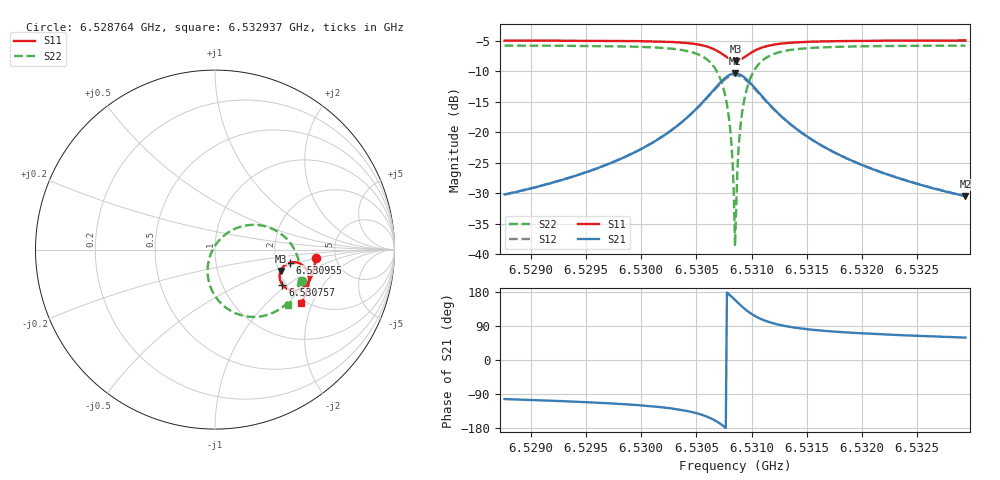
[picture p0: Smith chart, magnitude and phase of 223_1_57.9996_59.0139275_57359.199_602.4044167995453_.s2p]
#  HZ  S  RI  R  50.00
! Rohde & Schwarz Vector Network Analyzer
! Rohde-Schwarz,ZNB20-2Port,1311601062101988,3.16
! Created: UTC 3/21/2024, 1:00:14 AM
! freq[Hz]  re:S11  im:S11  re:S21  im:S21  re:S12  im:S12  re:S22  im:S22
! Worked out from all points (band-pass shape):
!   401 points, 6.528764 GHz to 6.532937 GHz, reference 50 ohm
!   highest |S21| = -10.37 dB at 6.530851 GHz (marker M1); lowest = -30.5 dB at 6.532937 GHz (marker M2)
!   |S21| within 3 dB of the highest: 6.530643 GHz to 6.53106 GHz (417.2 kHz wide, 0.00639 % of centre)
!   lowest |S11| = -8.3 dB at 6.530861 GHz (marker M3), VSWR 2.25, Z = 102 - j28.5 ohm
!   |S11| at or under -10 dB: nowhere
!   |S22| runs from -38.7 to -5.8 dB; largest |S21 - S12| = 0.012
!   S11 on the Smith chart (normalised r, x): 6.528764 GHz: 3.49, -0.49; 6.530757 GHz: 1.92, -0.91; 6.530955 GHz: 2.38, -0.42; 6.532937 GHz: 1.90, -1.66
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6.5287637e9  0.5603 -0.0483  -0.00699 -0.03  -0.00762 -0.0299  0.4824 -0.1725
6.5294628e9  0.5511 -0.1066  -0.0162 -0.0427  -0.0171 -0.0423  0.4511 -0.2361
6.5301619e9  0.5243 -0.1762  -0.0493 -0.0732  -0.0516 -0.0719  0.3697 -0.3252
6.5304018e9  0.4979 -0.2066  -0.0885 -0.0925  -0.0914 -0.0896  0.2897 -0.3644
6.5305792e9  0.4549 -0.2266  -0.1558 -0.0991  -0.1582 -0.0928  0.1653 -0.37
6.5306836e9  0.4103 -0.2222  -0.2247 -0.0733  -0.224 -0.0637  0.0495 -0.3143
6.5307566e9  0.3754 -0.1956  -0.2755 -0.0154  -0.2699 -0.00541  -0.0253 -0.2075
6.5307983e9  0.3623 -0.1683  -0.2912 0.0369  -0.2826 0.0451  -0.0415 -0.118
6.5308192e9  0.3598 -0.1519  -0.292 0.0666  -0.282 0.0731  -0.0367 -0.0692
6.5308296e9  0.3599 -0.1436  -0.2902 0.0818  -0.2796 0.0874  -0.0308 -0.045
6.5308401e9  0.3608 -0.1352  -0.2867 0.0967  -0.276 0.1015  -0.0222 -0.021
6.5308505e9  0.3627 -0.1269  -0.2818 0.1114  -0.2709 0.1151  -0.0114 0.00205
6.5308609e9  0.3654 -0.1188  -0.2755 0.1255  -0.2645 0.1282  0.00137 0.0238
6.5308714e9  0.3689 -0.1113  -0.2677 0.1391  -0.2569 0.1407  0.0167 0.0442
6.5308818e9  0.3735 -0.104  -0.2588 0.1513  -0.2483 0.1521  0.0333 0.0628
6.5309027e9  0.3841 -0.0914  -0.2382 0.1729  -0.2284 0.1722  0.071 0.0941
6.5309548e9  0.4166 -0.0729  -0.1785 0.2047  -0.1717 0.2017  0.1752 0.1351
6.5310279e9  0.4591 -0.0725  -0.104 0.2067  -0.1005 0.2037  0.3001 0.1237
6.5311322e9  0.4965 -0.0942  -0.0401 0.1761  -0.0383 0.1745  0.403 0.0566
6.5315496e9  0.5235 -0.1733  0.0153 0.0851  0.0163 0.0849  0.4725 -0.1344
6.5322486e9  0.5057 -0.2452  0.0173 0.0409  0.0182 0.0406  0.4431 -0.2496
6.5329373e9  0.4799 -0.2971  0.0153 0.0255  0.0158 0.0254  0.4077 -0.3092
